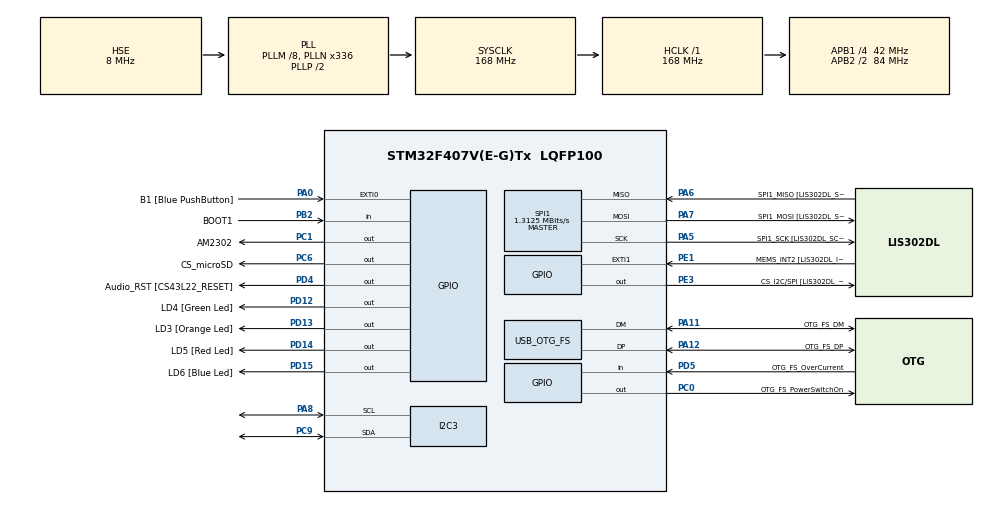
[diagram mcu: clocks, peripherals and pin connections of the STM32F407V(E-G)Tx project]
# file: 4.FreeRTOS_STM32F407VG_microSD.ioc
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FREERTOS.Queues01=UARTQueue,10,QUEUE_t,0,Static,UARTQueueBuffer,UARTQueueControlBlock
FREERTOS.Tasks01=defaultTask,24,128,StartDefaultTask,Default,NULL,Static,defaultTaskBuffer,defaultTaskControlBlock;Blue_LED_Blink,8,128,Start_Blue_LED_Blink,Default,NULL,Static,Blue_LED_BlinkBuffer,Blue_LED_BlinkControlBlock;Show_Resources,8,1024,Start_Show_Resources,Default,NULL,Static,Show_ResourcesBuffer,Show_ResourcesControlBlock;UART_Task,8,1024,Start_UART_Task,Default,NULL,Static,UART_TaskBuffer,UART_TaskControlBlock;bme280,8,1024,Start_bme280,Default,NULL,Static,bme280Buffer,bme280ControlBlock;AM2302,8,1024,Start_AM2302,Default,NULL,Static,AM2302Buffer,AM2302ControlBlock
FREERTOS.configGENERATE_RUN_TIME_STATS=1
FREERTOS.configUSE_NEWLIB_REENTRANT=1
FREERTOS.configUSE_STATS_FORMATTING_FUNCTIONS=1
Mcu.Family=STM32F4
Mcu.Name=STM32F407V(E-G)Tx
Mcu.Package=LQFP100
NVIC.OTG_FS_IRQn=true\:5\:0\:false\:false\:true\:true\:true\:true
NVIC.PriorityGroup=NVIC_PRIORITYGROUP_4
NVIC.TIM1_UP_TIM10_IRQn=true\:5\:0\:false\:false\:true\:false\:false\:true
NVIC.TIM2_IRQn=true\:5\:0\:false\:false\:true\:true\:true\:true
NVIC.TIM3_IRQn=true\:5\:0\:false\:false\:true\:true\:true\:true
NVIC.TimeBase=TIM1_UP_TIM10_IRQn
NVIC.TimeBaseIP=TIM1
PA0-WKUP.GPIO_Label=B1 [Blue PushButton]
PA0-WKUP.GPIO_ModeDefaultEXTI=GPIO_MODE_EVT_RISING
PA0-WKUP.GPIO_PuPd=GPIO_NOPULL
PA0-WKUP.Signal=GPXTI0
PA10.GPIO_Label=OTG_FS_ID
PA10.GPIO_Mode=GPIO_MODE_AF_PP
PA10.GPIO_PuPd=GPIO_NOPULL
PA10.GPIO_Speed=GPIO_SPEED_FREQ_LOW
PA10.Signal=USB_OTG_FS_ID
PA11.GPIO_Label=OTG_FS_DM
PA11.GPIO_Mode=GPIO_MODE_AF_PP
PA11.GPIO_PuPd=GPIO_NOPULL
PA11.GPIO_Speed=GPIO_SPEED_FREQ_LOW
PA11.Mode=Device_Only
PA11.Signal=USB_OTG_FS_DM
PA12.GPIO_Label=OTG_FS_DP
PA12.GPIO_Mode=GPIO_MODE_AF_PP
PA12.GPIO_PuPd=GPIO_NOPULL
PA12.GPIO_Speed=GPIO_SPEED_FREQ_LOW
PA12.Mode=Device_Only
PA12.Signal=USB_OTG_FS_DP
PA13.GPIO_Label=SWDIO
PA13.Mode=Serial_Wire
PA13.Signal=SYS_JTMS-SWDIO
PA14.GPIO_Label=SWCLK
PA14.Mode=Serial_Wire
PA14.Signal=SYS_JTCK-SWCLK
PA4.GPIO_Label=I2S3_WS [CS43L22_LRCK]
PA4.GPIO_Mode=GPIO_MODE_AF_PP
PA4.GPIO_PuPd=GPIO_NOPULL
PA4.GPIO_Speed=GPIO_SPEED_FREQ_LOW
PA4.Signal=I2S3_WS
PA5.GPIO_Label=SPI1_SCK [LIS302DL_SCL/SPC]
PA5.GPIO_Mode=GPIO_MODE_AF_PP
PA5.GPIO_PuPd=GPIO_NOPULL
PA5.GPIO_Speed=GPIO_SPEED_FREQ_LOW
PA5.Mode=Full_Duplex_Master
PA5.Signal=SPI1_SCK
PA6.GPIO_Label=SPI1_MISO [LIS302DL_SDO]
PA6.GPIO_Mode=GPIO_MODE_AF_PP
PA6.GPIO_PuPd=GPIO_NOPULL
PA6.GPIO_Speed=GPIO_SPEED_FREQ_LOW
PA6.Mode=Full_Duplex_Master
PA6.Signal=SPI1_MISO
PA7.GPIO_Label=SPI1_MOSI [LIS302DL_SDA/SDI/SDO]
PA7.GPIO_Mode=GPIO_MODE_AF_PP
PA7.GPIO_PuPd=GPIO_NOPULL
PA7.GPIO_Speed=GPIO_SPEED_FREQ_LOW
PA7.Mode=Full_Duplex_Master
PA7.Signal=SPI1_MOSI
PA8.Mode=I2C
PA8.Signal=I2C3_SCL
PA9.GPIO_Label=VBUS_FS
PA9.GPIO_Mode=GPIO_MODE_INPUT
PA9.GPIO_PuPd=GPIO_NOPULL
PA9.Signal=USB_OTG_FS_VBUS
PB10.GPIO_Label=CLK_IN [MP45DT02_CLK]
PB10.GPIO_Mode=GPIO_MODE_AF_PP
PB10.GPIO_PuPd=GPIO_NOPULL
PB10.GPIO_Speed=GPIO_SPEED_FREQ_LOW
PB10.Signal=I2S2_CK
PB2.GPIO_Label=BOOT1
PB2.GPIO_Mode=GPIO_MODE_INPUT
PB2.GPIO_PuPd=GPIO_NOPULL
PB2.Signal=GPIO_Input
PB3.GPIO_Label=SWO
PB3.Signal=SYS_JTDO-SWO
PB6.GPIO_Label=Audio_SCL [CS43L22_SCL]
PB6.GPIO_Mode=GPIO_MODE_AF_OD
PB6.GPIO_Pu=GPIO_PULLUP
PB6.GPIO_PuPd=GPIO_NOPULL
PB6.GPIO_Speed=GPIO_SPEED_FREQ_LOW
PB6.Signal=I2C1_SCL
PB9.GPIO_Label=Audio_SDA [CS43L22_SDA]
PB9.GPIO_Mode=GPIO_MODE_AF_OD
PB9.GPIO_Pu=GPIO_PULLUP
PB9.GPIO_PuPd=GPIO_NOPULL
PB9.GPIO_Speed=GPIO_SPEED_FREQ_LOW
PB9.Signal=I2C1_SDA
PC0.GPIO_Label=OTG_FS_PowerSwitchOn
PC0.GPIO_PuPd=GPIO_NOPULL
PC0.GPIO_Speed=GPIO_SPEED_FREQ_LOW
PC0.PinState=GPIO_PIN_SET
PC0.Signal=GPIO_Output
PC1.GPIO_Label=AM2302
PC1.Signal=GPIO_Output
PC10.GPIO_Label=I2S3_SCK [CS43L22_SCLK]
PC10.GPIO_Mode=GPIO_MODE_AF_PP
PC10.GPIO_PuPd=GPIO_NOPULL
PC10.GPIO_Speed=GPIO_SPEED_FREQ_LOW
PC10.Signal=I2S3_CK
PC12.GPIO_Label=I2S3_SD [CS43L22_SDIN]
PC12.GPIO_Mode=GPIO_MODE_AF_PP
PC12.GPIO_PuPd=GPIO_NOPULL
PC12.GPIO_Speed=GPIO_SPEED_FREQ_LOW
PC12.Signal=I2S3_SD
PC14-OSC32_IN.GPIO_Label=PC14-OSC32_IN
PC14-OSC32_IN.Mode=LSE-External-Oscillator
PC14-OSC32_IN.Signal=RCC_OSC32_IN
PC15-OSC32_OUT.GPIO_Label=PC15-OSC32_OUT
PC15-OSC32_OUT.Mode=LSE-External-Oscillator
PC15-OSC32_OUT.Signal=RCC_OSC32_OUT
PC3.GPIO_Label=PDM_OUT [MP45DT02_DOUT]
PC3.GPIO_Mode=GPIO_MODE_AF_PP
PC3.GPIO_PuPd=GPIO_NOPULL
PC3.GPIO_Speed=GPIO_SPEED_FREQ_LOW
PC3.Signal=I2S2_SD
PC6.GPIO_Label=CS_microSD
PC6.Signal=GPIO_Output
PC7.GPIO_Label=I2S3_MCK [CS43L22_MCLK]
PC7.GPIO_Mode=GPIO_MODE_AF_PP
PC7.GPIO_PuPd=GPIO_NOPULL
PC7.GPIO_Speed=GPIO_SPEED_FREQ_LOW
PC7.Signal=I2S3_MCK
PC9.Mode=I2C
PC9.Signal=I2C3_SDA
PD12.GPIO_Label=LD4 [Green Led]
PD12.GPIO_PuPd=GPIO_NOPULL
PD12.GPIO_Speed=GPIO_SPEED_FREQ_LOW
PD12.Signal=GPIO_Output
PD13.GPIO_Label=LD3 [Orange Led]
PD13.GPIO_PuPd=GPIO_NOPULL
PD13.GPIO_Speed=GPIO_SPEED_FREQ_LOW
PD13.Signal=GPIO_Output
PD14.GPIO_Label=LD5 [Red Led]
PD14.GPIO_PuPd=GPIO_NOPULL
PD14.GPIO_Speed=GPIO_SPEED_FREQ_LOW
PD14.Signal=GPIO_Output
PD15.GPIO_Label=LD6 [Blue Led]
PD15.GPIO_PuPd=GPIO_NOPULL
PD15.GPIO_Speed=GPIO_SPEED_FREQ_LOW
PD15.Signal=GPIO_Output
PD4.GPIO_Label=Audio_RST [CS43L22_RESET]
PD4.GPIO_PuPd=GPIO_NOPULL
PD4.GPIO_Speed=GPIO_SPEED_FREQ_LOW
PD4.Signal=GPIO_Output
PD5.GPIO_Label=OTG_FS_OverCurrent
PD5.GPIO_Mode=GPIO_MODE_INPUT
PD5.GPIO_PuPd=GPIO_NOPULL
PD5.Signal=GPIO_Input
PE1.GPIO_Label=MEMS_INT2 [LIS302DL_INT2]
PE1.GPIO_ModeDefaultEXTI=GPIO_MODE_EVT_RISING
PE1.GPIO_PuPd=GPIO_NOPULL
PE1.Signal=GPXTI1
PE3.GPIO_Label=CS_I2C/SPI [LIS302DL_CS_I2C/SPI]
PE3.GPIO_PuPd=GPIO_NOPULL
PE3.GPIO_Speed=GPIO_SPEED_FREQ_LOW
PE3.Signal=GPIO_Output
PH0-OSC_IN.GPIO_Label=PH0-OSC_IN
PH0-OSC_IN.Mode=HSE-External-Oscillator
PH0-OSC_IN.Signal=RCC_OSC_IN
PH1-OSC_OUT.GPIO_Label=PH1-OSC_OUT
PH1-OSC_OUT.Mode=HSE-External-Oscillator
PH1-OSC_OUT.Signal=RCC_OSC_OUT
ProjectManager.HeapSize=0x200
ProjectManager.StackSize=0x400
ProjectManager.TargetToolchain=STM32CubeIDE
RCC.48MHZClocksFreq_Value=48000000
RCC.AHBFreq_Value=168000000
RCC.APB1CLKDivider=RCC_HCLK_DIV4
RCC.APB1Freq_Value=42000000
RCC.APB1TimFreq_Value=84000000
RCC.APB2CLKDivider=RCC_HCLK_DIV2
RCC.APB2Freq_Value=84000000
RCC.APB2TimFreq_Value=168000000
RCC.CortexFreq_Value=168000000
RCC.HCLKFreq_Value=168000000
RCC.HSE_VALUE=8000000
RCC.HSI_VALUE=16000000
RCC.PLLM=8
RCC.PLLN=336
RCC.PLLQ=7
RCC.SYSCLKFreq_VALUE=168000000
RCC.SYSCLKSource=RCC_SYSCLKSOURCE_PLLCLK
RCC.VCOOutputFreq_Value=336000000
SPI1.BaudRatePrescaler=SPI_BAUDRATEPRESCALER_64
SPI1.CalculateBaudRate=1.3125 MBits/s
SPI1.Direction=SPI_DIRECTION_2LINES
SPI1.Mode=SPI_MODE_MASTER
SPI1.VirtualType=VM_MASTER
TIM10.AutoReloadPreload=TIM_AUTORELOAD_PRELOAD_ENABLE
TIM10.Period=10-1
TIM10.Prescaler=168-1
TIM2.AutoReloadPreload=TIM_AUTORELOAD_PRELOAD_DISABLE
TIM2.Period=10
TIM2.Prescaler=10
TIM3.AutoReloadPreload=TIM_AUTORELOAD_PRELOAD_ENABLE
TIM3.Period=10
TIM3.Prescaler=839
USB_DEVICE.CLASS_NAME_FS=CDC
USB_DEVICE.VirtualMode-CDC_FS=Cdc
USB_DEVICE.VirtualModeFS=Cdc_FS
USB_OTG_FS.VirtualMode=Device_Only
VP_FATFS_VS_Generic.Mode=User_defined
VP_FREERTOS_VS_CMSIS_V2.Mode=CMSIS_V2
VP_SYS_VS_tim1.Mode=TIM1
VP_TIM10_VS_ClockSourceINT.Mode=Enable_Timer
VP_TIM2_VS_ClockSourceINT.Mode=Internal
VP_TIM3_VS_ClockSourceINT.Mode=Internal
VP_USB_DEVICE_VS_USB_DEVICE_CDC_FS.Mode=CDC_FS
board=STM32F407G-DISC1

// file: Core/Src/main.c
/* USER CODE BEGIN Header */
/**
  ******************************************************************************
  * @file           : main.c
  * @brief          : Main program body
  ******************************************************************************
  * @attention
  *
  * <h2><center>&copy; Copyright (c) 2021 STMicroelectronics.
  * All rights reserved.</center></h2>
  *
  * This software component is licensed by ST under Ultimate Liberty license
  * SLA0044, the "License"; You may not use this file except in compliance with
  * the License. You may obtain a copy of the License at:
  *                             www.st.com/SLA0044
  *
  ******************************************************************************
  */
/* USER CODE END Header */
#include "main.h"
#include "cmsis_os.h"
#include "fatfs.h"
#include "usb_device.h"
#include "usb_device.h"

/* USER CODE BEGIN Includes */
#include "string.h"
#include "usbd_cdc_if.h"
#include "task.h"
#include <stdio.h>
#include <stdbool.h>

#include "BME280/bme280_defs.h"
#include "BME280/bme280.h"

#include "File_Handling_RTOS.h"
/* USER CODE END Includes */

typedef StaticTask_t osStaticThreadDef_t;
typedef StaticQueue_t osStaticMessageQDef_t;
/* USER CODE BEGIN PTD */
typedef struct 							//Queue
{
	char Buf[1024];
}QUEUE_t;

volatile unsigned long ulHighFreqebcyTimerTicks;		// This variable using for calculate how many time all tasks was running.
char str_management_memory_str[1000] = {0};
int freemem = 0;

uint32_t tim_val = 0;
/* USER CODE END PTD */

I2C_HandleTypeDef hi2c3;

SPI_HandleTypeDef hspi1;

TIM_HandleTypeDef htim2;
TIM_HandleTypeDef htim3;
TIM_HandleTypeDef htim10;

/* Definitions for defaultTask */
osThreadId_t defaultTaskHandle;
uint32_t defaultTaskBuffer[ 128 ];
osStaticThreadDef_t defaultTaskControlBlock;
const osThreadAttr_t defaultTask_attributes = {
  .name = "defaultTask",
  .cb_mem = &defaultTaskControlBlock,
  .cb_size = sizeof(defaultTaskControlBlock),
  .stack_mem = &defaultTaskBuffer[0],
  .stack_size = sizeof(defaultTaskBuffer),
  .priority = (osPriority_t) osPriorityNormal,
};
/* Definitions for Blue_LED_Blink */
osThreadId_t Blue_LED_BlinkHandle;
uint32_t Blue_LED_BlinkBuffer[ 128 ];
osStaticThreadDef_t Blue_LED_BlinkControlBlock;
const osThreadAttr_t Blue_LED_Blink_attributes = {
  .name = "Blue_LED_Blink",
  .cb_mem = &Blue_LED_BlinkControlBlock,
  .cb_size = sizeof(Blue_LED_BlinkControlBlock),
  .stack_mem = &Blue_LED_BlinkBuffer[0],
  .stack_size = sizeof(Blue_LED_BlinkBuffer),
  .priority = (osPriority_t) osPriorityLow,
};
/* Definitions for Show_Resources */
osThreadId_t Show_ResourcesHandle;
uint32_t Show_ResourcesBuffer[ 1024 ];
osStaticThreadDef_t Show_ResourcesControlBlock;
const osThreadAttr_t Show_Resources_attributes = {
  .name = "Show_Resources",
  .cb_mem = &Show_ResourcesControlBlock,
  .cb_size = sizeof(Show_ResourcesControlBlock),
  .stack_mem = &Show_ResourcesBuffer[0],
  .stack_size = sizeof(Show_ResourcesBuffer),
  .priority = (osPriority_t) osPriorityLow,
};
/* Definitions for UART_Task */
osThreadId_t UART_TaskHandle;
uint32_t UART_TaskBuffer[ 1024 ];
osStaticThreadDef_t UART_TaskControlBlock;
const osThreadAttr_t UART_Task_attributes = {
  .name = "UART_Task",
  .cb_mem = &UART_TaskControlBlock,
  .cb_size = sizeof(UART_TaskControlBlock),
  .stack_mem = &UART_TaskBuffer[0],
  .stack_size = sizeof(UART_TaskBuffer),
  .priority = (osPriority_t) osPriorityLow,
};
/* Definitions for bme280 */
osThreadId_t bme280Handle;
uint32_t bme280Buffer[ 1024 ];
osStaticThreadDef_t bme280ControlBlock;
const osThreadAttr_t bme280_attributes = {
  .name = "bme280",
  .cb_mem = &bme280ControlBlock,
  .cb_size = sizeof(bme280ControlBlock),
  .stack_mem = &bme280Buffer[0],
  .stack_size = sizeof(bme280Buffer),
  .priority = (osPriority_t) osPriorityLow,
};
/* Definitions for AM2302 */
osThreadId_t AM2302Handle;
uint32_t AM2302Buffer[ 1024 ];
osStaticThreadDef_t AM2302ControlBlock;
const osThreadAttr_t AM2302_attributes = {
  .name = "AM2302",
  .cb_mem = &AM2302ControlBlock,
  .cb_size = sizeof(AM2302ControlBlock),
  .stack_mem = &AM2302Buffer[0],
  .stack_size = sizeof(AM2302Buffer),
  .priority = (osPriority_t) osPriorityLow,
};
/* Definitions for UARTQueue */
osMessageQueueId_t UARTQueueHandle;
uint8_t UARTQueueBuffer[ 10 * sizeof( QUEUE_t ) ];
osStaticMessageQDef_t UARTQueueControlBlock;
const osMessageQueueAttr_t UARTQueue_attributes = {
  .name = "UARTQueue",
  .cb_mem = &UARTQueueControlBlock,
  .cb_size = sizeof(UARTQueueControlBlock),
  .mq_mem = &UARTQueueBuffer,
  .mq_size = sizeof(UARTQueueBuffer)
};
/* USER CODE BEGIN PV */

// BME280 part /////////////////////////////////////////////////////////////////////////////////////
struct bme280_dev dev;
struct bme280_data comp_data;
int8_t rslt;

int8_t init_bme280(void);
void bme280_measure(void);

//----------------------------------------------------------------------------------------
int8_t user_i2c_read(uint8_t id, uint8_t reg_addr, uint8_t *data, uint16_t len)
{
  if(HAL_I2C_Master_Transmit(&hi2c3, (id << 1), &reg_addr, 1, 10) != HAL_OK) return -1;
  if(HAL_I2C_Master_Receive(&hi2c3, (id << 1) | 0x01, data, len, 10) != HAL_OK) return -1;

  return 0;
}
//----------------------------------------------------------------------------------------
void user_delay_ms(uint32_t period)
{
  HAL_Delay(period);
}
//----------------------------------------------------------------------------------------
int8_t user_i2c_write(uint8_t id, uint8_t reg_addr, uint8_t *data, uint16_t len)
{
  int8_t *buf;
  buf = malloc(len +1);
  buf[0] = reg_addr;
  memcpy(buf +1, data, len);

  if(HAL_I2C_Master_Transmit(&hi2c3, (id << 1), (uint8_t*)buf, len + 1, HAL_MAX_DELAY) != HAL_OK) return -1;

  free(buf);
  return 0;
}
// End BME280 part/////////////////////////////////////////////////////////////////////////////////////

//__STATIC_INLINE void DelayMicro(__IO uint32_t micros)
//{
//	uint32_t test_micros = SystemCoreClock;
//	micros *= (SystemCoreClock / 100000) /168;			// 84
//	while (micros--);
//	//HAL_GPIO_TogglePin(GPIOD, LD3_Pin);
//
//}

bool delay_us(uint16_t us)
{
	__HAL_TIM_SET_COUNTER(&htim10, 0);
	tim_val = us/10;
	HAL_TIM_Base_Start_IT(&htim10);
	while(tim_val != 0)
	{

	}
	HAL_TIM_Base_Stop_IT(&htim10);
	tim_val = 0;
	int s = 99;
	return true;

//	__HAL_TIM_SET_COUNTER(&htim10, 0);
//	HAL_TIM_Base_Start_IT(&htim10);
//	uint32_t kk = __HAL_TIM_GET_COUNTER(&htim10);
//	while (__HAL_TIM_GET_COUNTER(&htim10) < us)  // wait for the counter to reach the us input in the parameter
//	{
//
//	}
//	//HAL_TIM_Base_Stop_IT(&htim10);
//	return true;
}

/* USER CODE END PV */

void SystemClock_Config(void);
static void MX_GPIO_Init(void);
static void MX_TIM3_Init(void);
static void MX_I2C3_Init(void);
static void MX_TIM2_Init(void);
static void MX_TIM10_Init(void);
static void MX_SPI1_Init(void);
void StartDefaultTask(void *argument);
void Start_Blue_LED_Blink(void *argument);
void Start_Show_Resources(void *argument);
void Start_UART_Task(void *argument);
void Start_bme280(void *argument);
void Start_AM2302(void *argument);

int main(void)
{

  /* MCU Configuration--------------------------------------------------------*/

  /* Reset of all peripherals, Initializes the Flash interface and the Systick. */
  HAL_Init();

  /* Configure the system clock */
  SystemClock_Config();

  /* Initialize all configured peripherals */
  MX_GPIO_Init();
  MX_TIM3_Init();
  MX_I2C3_Init();
  MX_TIM2_Init();
  MX_TIM10_Init();
  MX_SPI1_Init();
  MX_FATFS_Init();
  /* USER CODE BEGIN 2 */
  HAL_TIM_Base_Start_IT(&htim3);		//  This TIM3 using for calculate how many time all tasks was running.

  //HAL_TIM_Base_Start_IT(&htim2);
  HAL_TIM_Base_Start_IT(&htim10);

  /* USER CODE END 2 */

  /* Init scheduler */
  osKernelInitialize();

  /* Create the queue(s) */
  /* creation of UARTQueue */
  UARTQueueHandle = osMessageQueueNew (10, sizeof(QUEUE_t), &UARTQueue_attributes);

  /* Create the thread(s) */
  /* creation of defaultTask */
  defaultTaskHandle = osThreadNew(StartDefaultTask, NULL, &defaultTask_attributes);

  /* creation of Blue_LED_Blink */
  Blue_LED_BlinkHandle = osThreadNew(Start_Blue_LED_Blink, NULL, &Blue_LED_Blink_attributes);

  /* creation of Show_Resources */
  Show_ResourcesHandle = osThreadNew(Start_Show_Resources, NULL, &Show_Resources_attributes);

  /* creation of UART_Task */
  UART_TaskHandle = osThreadNew(Start_UART_Task, NULL, &UART_Task_attributes);

  /* creation of bme280 */
  bme280Handle = osThreadNew(Start_bme280, NULL, &bme280_attributes);

  /* creation of AM2302 */
  AM2302Handle = osThreadNew(Start_AM2302, NULL, &AM2302_attributes);

  /* Start scheduler */
  osKernelStart();

  /* We should never get here as control is now taken by the scheduler */
  /* Infinite loop */
  while (1)
  {

  }
}

void SystemClock_Config(void)
{
  RCC_OscInitTypeDef RCC_OscInitStruct = {0};
  RCC_ClkInitTypeDef RCC_ClkInitStruct = {0};

  /** Configure the main internal regulator output voltage
  */
  __HAL_RCC_PWR_CLK_ENABLE();
  __HAL_PWR_VOLTAGESCALING_CONFIG(PWR_REGULATOR_VOLTAGE_SCALE1);
  /** Initializes the RCC Oscillators according to the specified parameters
  * in the RCC_OscInitTypeDef structure.
  */
  RCC_OscInitStruct.OscillatorType = RCC_OSCILLATORTYPE_HSE;
  RCC_OscInitStruct.HSEState = RCC_HSE_ON;
  RCC_OscInitStruct.PLL.PLLState = RCC_PLL_ON;
  RCC_OscInitStruct.PLL.PLLSource = RCC_PLLSOURCE_HSE;
  RCC_OscInitStruct.PLL.PLLM = 8;
  RCC_OscInitStruct.PLL.PLLN = 336;
  RCC_OscInitStruct.PLL.PLLP = RCC_PLLP_DIV2;
  RCC_OscInitStruct.PLL.PLLQ = 7;
  if (HAL_RCC_OscConfig(&RCC_OscInitStruct) != HAL_OK)
  {
    Error_Handler();
  }
  /** Initializes the CPU, AHB and APB buses clocks
  */
  RCC_ClkInitStruct.ClockType = RCC_CLOCKTYPE_HCLK|RCC_CLOCKTYPE_SYSCLK
                              |RCC_CLOCKTYPE_PCLK1|RCC_CLOCKTYPE_PCLK2;
  RCC_ClkInitStruct.SYSCLKSource = RCC_SYSCLKSOURCE_PLLCLK;
  RCC_ClkInitStruct.AHBCLKDivider = RCC_SYSCLK_DIV1;
  RCC_ClkInitStruct.APB1CLKDivider = RCC_HCLK_DIV4;
  RCC_ClkInitStruct.APB2CLKDivider = RCC_HCLK_DIV2;

  if (HAL_RCC_ClockConfig(&RCC_ClkInitStruct, FLASH_LATENCY_5) != HAL_OK)
  {
    Error_Handler();
  }
}

static void MX_I2C3_Init(void)
{

  hi2c3.Instance = I2C3;
  hi2c3.Init.ClockSpeed = 100000;
  hi2c3.Init.DutyCycle = I2C_DUTYCYCLE_2;
  hi2c3.Init.OwnAddress1 = 0;
  hi2c3.Init.AddressingMode = I2C_ADDRESSINGMODE_7BIT;
  hi2c3.Init.DualAddressMode = I2C_DUALADDRESS_DISABLE;
  hi2c3.Init.OwnAddress2 = 0;
  hi2c3.Init.GeneralCallMode = I2C_GENERALCALL_DISABLE;
  hi2c3.Init.NoStretchMode = I2C_NOSTRETCH_DISABLE;
  if (HAL_I2C_Init(&hi2c3) != HAL_OK)
  {
    Error_Handler();
  }

}

static void MX_SPI1_Init(void)
{

  /* SPI1 parameter configuration*/
  hspi1.Instance = SPI1;
  hspi1.Init.Mode = SPI_MODE_MASTER;
  hspi1.Init.Direction = SPI_DIRECTION_2LINES;
  hspi1.Init.DataSize = SPI_DATASIZE_8BIT;
  hspi1.Init.CLKPolarity = SPI_POLARITY_LOW;
  hspi1.Init.CLKPhase = SPI_PHASE_1EDGE;
  hspi1.Init.NSS = SPI_NSS_SOFT;
  hspi1.Init.BaudRatePrescaler = SPI_BAUDRATEPRESCALER_64;
  hspi1.Init.FirstBit = SPI_FIRSTBIT_MSB;
  hspi1.Init.TIMode = SPI_TIMODE_DISABLE;
  hspi1.Init.CRCCalculation = SPI_CRCCALCULATION_DISABLE;
  hspi1.Init.CRCPolynomial = 10;
  if (HAL_SPI_Init(&hspi1) != HAL_OK)
  {
    Error_Handler();
  }

}

static void MX_TIM2_Init(void)
{

  TIM_ClockConfigTypeDef sClockSourceConfig = {0};
  TIM_MasterConfigTypeDef sMasterConfig = {0};

  htim2.Instance = TIM2;
  htim2.Init.Prescaler = 10;
  htim2.Init.CounterMode = TIM_COUNTERMODE_UP;
  htim2.Init.Period = 10;
  htim2.Init.ClockDivision = TIM_CLOCKDIVISION_DIV1;
  htim2.Init.AutoReloadPreload = TIM_AUTORELOAD_PRELOAD_DISABLE;
  if (HAL_TIM_Base_Init(&htim2) != HAL_OK)
  {
    Error_Handler();
  }
  sClockSourceConfig.ClockSource = TIM_CLOCKSOURCE_INTERNAL;
  if (HAL_TIM_ConfigClockSource(&htim2, &sClockSourceConfig) != HAL_OK)
  {
    Error_Handler();
  }
  sMasterConfig.MasterOutputTrigger = TIM_TRGO_RESET;
  sMasterConfig.MasterSlaveMode = TIM_MASTERSLAVEMODE_DISABLE;
  if (HAL_TIMEx_MasterConfigSynchronization(&htim2, &sMasterConfig) != HAL_OK)
  {
    Error_Handler();
  }

}

static void MX_TIM3_Init(void)
{

  TIM_ClockConfigTypeDef sClockSourceConfig = {0};
  TIM_MasterConfigTypeDef sMasterConfig = {0};

  htim3.Instance = TIM3;
  htim3.Init.Prescaler = 839;
  htim3.Init.CounterMode = TIM_COUNTERMODE_UP;
  htim3.Init.Period = 10;
  htim3.Init.ClockDivision = TIM_CLOCKDIVISION_DIV1;
  htim3.Init.AutoReloadPreload = TIM_AUTORELOAD_PRELOAD_ENABLE;
  if (HAL_TIM_Base_Init(&htim3) != HAL_OK)
  {
    Error_Handler();
  }
  sClockSourceConfig.ClockSource = TIM_CLOCKSOURCE_INTERNAL;
  if (HAL_TIM_ConfigClockSource(&htim3, &sClockSourceConfig) != HAL_OK)
  {
    Error_Handler();
  }
  sMasterConfig.MasterOutputTrigger = TIM_TRGO_RESET;
  sMasterConfig.MasterSlaveMode = TIM_MASTERSLAVEMODE_DISABLE;
  if (HAL_TIMEx_MasterConfigSynchronization(&htim3, &sMasterConfig) != HAL_OK)
  {
    Error_Handler();
  }

}

static void MX_TIM10_Init(void)
{

  htim10.Instance = TIM10;
  htim10.Init.Prescaler = 168-1;
  htim10.Init.CounterMode = TIM_COUNTERMODE_UP;
  htim10.Init.Period = 10-1;
  htim10.Init.ClockDivision = TIM_CLOCKDIVISION_DIV1;
  htim10.Init.AutoReloadPreload = TIM_AUTORELOAD_PRELOAD_ENABLE;
  if (HAL_TIM_Base_Init(&htim10) != HAL_OK)
  {
    Error_Handler();
  }

}

static void MX_GPIO_Init(void)
{
  GPIO_InitTypeDef GPIO_InitStruct = {0};

  /* GPIO Ports Clock Enable */
  __HAL_RCC_GPIOE_CLK_ENABLE();
  __HAL_RCC_GPIOC_CLK_ENABLE();
  __HAL_RCC_GPIOH_CLK_ENABLE();
  __HAL_RCC_GPIOA_CLK_ENABLE();
  __HAL_RCC_GPIOB_CLK_ENABLE();
  __HAL_RCC_GPIOD_CLK_ENABLE();

  /*Configure GPIO pin Output Level */
  HAL_GPIO_WritePin(CS_I2C_SPI_GPIO_Port, CS_I2C_SPI_Pin, GPIO_PIN_RESET);

  /*Configure GPIO pin Output Level */
  HAL_GPIO_WritePin(OTG_FS_PowerSwitchOn_GPIO_Port, OTG_FS_PowerSwitchOn_Pin, GPIO_PIN_SET);

  /*Configure GPIO pin Output Level */
  HAL_GPIO_WritePin(GPIOC, AM2302_Pin|CS_microSD_Pin, GPIO_PIN_RESET);

  /*Configure GPIO pin Output Level */
  HAL_GPIO_WritePin(GPIOD, LD4_Pin|LD3_Pin|LD5_Pin|LD6_Pin
                          |Audio_RST_Pin, GPIO_PIN_RESET);

  /*Configure GPIO pin : CS_I2C_SPI_Pin */
  GPIO_InitStruct.Pin = CS_I2C_SPI_Pin;
  GPIO_InitStruct.Mode = GPIO_MODE_OUTPUT_PP;
  GPIO_InitStruct.Pull = GPIO_NOPULL;
  GPIO_InitStruct.Speed = GPIO_SPEED_FREQ_LOW;
  HAL_GPIO_Init(CS_I2C_SPI_GPIO_Port, &GPIO_InitStruct);

  /*Configure GPIO pins : OTG_FS_PowerSwitchOn_Pin AM2302_Pin CS_microSD_Pin */
  GPIO_InitStruct.Pin = OTG_FS_PowerSwitchOn_Pin|AM2302_Pin|CS_microSD_Pin;
  GPIO_InitStruct.Mode = GPIO_MODE_OUTPUT_PP;
  GPIO_InitStruct.Pull = GPIO_NOPULL;
  GPIO_InitStruct.Speed = GPIO_SPEED_FREQ_LOW;
  HAL_GPIO_Init(GPIOC, &GPIO_InitStruct);

  /*Configure GPIO pin : PDM_OUT_Pin */
  GPIO_InitStruct.Pin = PDM_OUT_Pin;
  GPIO_InitStruct.Mode = GPIO_MODE_AF_PP;
  GPIO_InitStruct.Pull = GPIO_NOPULL;
  GPIO_InitStruct.Speed = GPIO_SPEED_FREQ_LOW;
  GPIO_InitStruct.Alternate = GPIO_AF5_SPI2;
  HAL_GPIO_Init(PDM_OUT_GPIO_Port, &GPIO_InitStruct);

  /*Configure GPIO pin : B1_Pin */
  GPIO_InitStruct.Pin = B1_Pin;
  GPIO_InitStruct.Mode = GPIO_MODE_EVT_RISING;
  GPIO_InitStruct.Pull = GPIO_NOPULL;
  HAL_GPIO_Init(B1_GPIO_Port, &GPIO_InitStruct);

  /*Configure GPIO pin : I2S3_WS_Pin */
  GPIO_InitStruct.Pin = I2S3_WS_Pin;
  GPIO_InitStruct.Mode = GPIO_MODE_AF_PP;
  GPIO_InitStruct.Pull = GPIO_NOPULL;
  GPIO_InitStruct.Speed = GPIO_SPEED_FREQ_LOW;
  GPIO_InitStruct.Alternate = GPIO_AF6_SPI3;
  HAL_GPIO_Init(I2S3_WS_GPIO_Port, &GPIO_InitStruct);

  /*Configure GPIO pin : BOOT1_Pin */
  GPIO_InitStruct.Pin = BOOT1_Pin;
  GPIO_InitStruct.Mode = GPIO_MODE_INPUT;
  GPIO_InitStruct.Pull = GPIO_NOPULL;
  HAL_GPIO_Init(BOOT1_GPIO_Port, &GPIO_InitStruct);

  /*Configure GPIO pin : CLK_IN_Pin */
  GPIO_InitStruct.Pin = CLK_IN_Pin;
  GPIO_InitStruct.Mode = GPIO_MODE_AF_PP;
  GPIO_InitStruct.Pull = GPIO_NOPULL;
  GPIO_InitStruct.Speed = GPIO_SPEED_FREQ_LOW;
  GPIO_InitStruct.Alternate = GPIO_AF5_SPI2;
  HAL_GPIO_Init(CLK_IN_GPIO_Port, &GPIO_InitStruct);

  /*Configure GPIO pins : LD4_Pin LD3_Pin LD5_Pin LD6_Pin
                           Audio_RST_Pin */
  GPIO_InitStruct.Pin = LD4_Pin|LD3_Pin|LD5_Pin|LD6_Pin
                          |Audio_RST_Pin;
  GPIO_InitStruct.Mode = GPIO_MODE_OUTPUT_PP;
  GPIO_InitStruct.Pull = GPIO_NOPULL;
  GPIO_InitStruct.Speed = GPIO_SPEED_FREQ_LOW;
  HAL_GPIO_Init(GPIOD, &GPIO_InitStruct);

  /*Configure GPIO pins : I2S3_MCK_Pin I2S3_SCK_Pin I2S3_SD_Pin */
  GPIO_InitStruct.Pin = I2S3_MCK_Pin|I2S3_SCK_Pin|I2S3_SD_Pin;
  GPIO_InitStruct.Mode = GPIO_MODE_AF_PP;
  GPIO_InitStruct.Pull = GPIO_NOPULL;
  GPIO_InitStruct.Speed = GPIO_SPEED_FREQ_LOW;
  GPIO_InitStruct.Alternate = GPIO_AF6_SPI3;
  HAL_GPIO_Init(GPIOC, &GPIO_InitStruct);

  /*Configure GPIO pin : OTG_FS_OverCurrent_Pin */
  GPIO_InitStruct.Pin = OTG_FS_OverCurrent_Pin;
  GPIO_InitStruct.Mode = GPIO_MODE_INPUT;
  GPIO_InitStruct.Pull = GPIO_NOPULL;
  HAL_GPIO_Init(OTG_FS_OverCurrent_GPIO_Port, &GPIO_InitStruct);

  /*Configure GPIO pins : Audio_SCL_Pin Audio_SDA_Pin */
  GPIO_InitStruct.Pin = Audio_SCL_Pin|Audio_SDA_Pin;
  GPIO_InitStruct.Mode = GPIO_MODE_AF_OD;
  GPIO_InitStruct.Pull = GPIO_PULLUP;
  GPIO_InitStruct.Speed = GPIO_SPEED_FREQ_LOW;
  GPIO_InitStruct.Alternate = GPIO_AF4_I2C1;
  HAL_GPIO_Init(GPIOB, &GPIO_InitStruct);

  /*Configure GPIO pin : MEMS_INT2_Pin */
  GPIO_InitStruct.Pin = MEMS_INT2_Pin;
  GPIO_InitStruct.Mode = GPIO_MODE_EVT_RISING;
  GPIO_InitStruct.Pull = GPIO_NOPULL;
  HAL_GPIO_Init(MEMS_INT2_GPIO_Port, &GPIO_InitStruct);

}

void StartDefaultTask(void *argument)
{
  /* init code for USB_DEVICE */
  MX_USB_DEVICE_Init();
  for(;;)
  {
	  osDelay(1);
  }
}

void Start_Blue_LED_Blink(void *argument)
{
  /* USER CODE BEGIN Start_Blue_LED_Blink */
  /* Infinite loop */
	static uint8_t i = 1;
	for(;;)
	{
		HAL_GPIO_WritePin(GPIOD, LD6_Pin, GPIO_PIN_SET);
		osDelay(100);
		HAL_GPIO_WritePin(GPIOD, LD6_Pin, GPIO_PIN_RESET);
		osDelay(900);

	}
  /* USER CODE END Start_Blue_LED_Blink */
}

void Start_Show_Resources(void *argument)
{
  /* USER CODE BEGIN Start_Show_Resources */
  /* Infinite loop */
  for(;;)
  {
	  osDelay(5000);												// Every 5 second task management will print data

	  char str_end_of_line[3] = {'\r','\n'};
	  char str_sig = '-';
	  char buff[10] = {0};

	  QUEUE_t msg;												// Make a queue
	  memset(msg.Buf, 0, sizeof(msg.Buf));						// Fill in buff '\0'
	  strcat(msg.Buf, ">>>>> Free heap memory: ");				// Add string to another (Total heap)

	  freemem = xPortGetFreeHeapSize();							// Function return how many free memory.
	  itoa(freemem, buff, 10);
	  strcat(msg.Buf, buff);
	  strcat(msg.Buf, str_end_of_line);

	  // add a hat
	  strcat(msg.Buf, "| TASK NAME           | STATUS |   PRIOR	|  STACK  |    NUM  |\n\r\0");

	  vTaskList(str_management_memory_str);						// Fill in str_management_memory_str array management task information

	  // Finding the  end of string
	  uint16_t buffer_size = 0;
	  while(msg.Buf[buffer_size] != '\0')
	  {
	  	buffer_size ++;
	  }

	  // Add str_management_memory_str to queue string
	  int i = 0;
	  for(i = 0; str_management_memory_str[i] != '\0'; i++)
	  {
	  	// add data to queue
	  	msg.Buf[buffer_size + i] = str_management_memory_str[i];
	  }

	  // add a hat
	  char str_line[] = {"-----------------------\n\r"};
	  char str_head_2[] = {"| TASK NAME           | ABS TIME |              TASK TIME% |\n\r"};
	  strcat(msg.Buf, str_line);
	  strcat(msg.Buf, str_head_2);

	  memset(str_management_memory_str, 0, sizeof(str_management_memory_str));	// Clean buffer

	  vTaskGetRunTimeStats(str_management_memory_str);							// Function return how much time all functions running.

	  buffer_size = buffer_size + i + (sizeof(str_line)-1) + (sizeof(str_head_2)-1);           // НЕ ВИВОДИТЬ СТРОКУ !!!!!!!!!!!!!!!!!! <<<<<<<<<<<<<<<<<<<
	  for(i = 0; str_management_memory_str[i] != '\0'; i++)
	  {
	  	// add data to queue
	  	msg.Buf[buffer_size + i] = str_management_memory_str[i];
	  }
	  strcat(msg.Buf, "#########################################\n\r");

	  osMessageQueuePut(UARTQueueHandle, &msg, 0, osWaitForever);					// Write data on queue (In will print on StartUART_Task task)
  }
  /* USER CODE END Start_Show_Resources */
}

void Start_UART_Task(void *argument)
{
  /* USER CODE BEGIN Start_UART_Task */
  /* Infinite loop */
  QUEUE_t msg;
  for(;;)
  {
	// osMessageQueueGet waiting data on a queue (If data are in queue so print it)
	osMessageQueueGet(UARTQueueHandle, &msg, 0, osWaitForever);			// Write for data on queue
	// Counting how many characters will be transmitted
	uint16_t buffer_size = 0;
	while(msg.Buf[buffer_size] != '\0')
	{
		buffer_size ++;
	}
	// Transmit over virtual comport
	CDC_Transmit_FS(msg.Buf, buffer_size);						// Transmit data over virtual comport
    osDelay(1);
  }
  /* USER CODE END Start_UART_Task */
}

void Start_bme280(void *argument)
{
  /* USER CODE BEGIN Start_bme280 */
  /* Infinite loop */

	QUEUE_t msg;												// Make a queue
	//memset(msg.Buf, 0, sizeof(msg.Buf));						// Fill in buff '\0'

	uint16_t STATUS=0;
	uint16_t addres_device = 0x76;  		 	// BME280
	uint16_t id_addr = 0xD0;
	uint8_t id = 96;							// in hex form
	uint8_t buff=0;        						// Return 0x96 -> Dec 60

	// For debug
	STATUS = HAL_I2C_Mem_Read(&hi2c3, addres_device<<1, id_addr, 1, &buff, 1, 1000);
	if((buff == id) && (STATUS == 0))
	{
		// BME280 founded
	}
	else
	{
		// Error !!! BME280 didn't found
	}

	// Init BME280
	dev.dev_id = BME280_I2C_ADDR_PRIM;
	dev.intf = BME280_I2C_INTF;
	dev.read = user_i2c_read;
	dev.write = user_i2c_write;
	dev.delay_ms = user_delay_ms;

	rslt = bme280_init(&dev);

	dev.settings.osr_h = BME280_OVERSAMPLING_1X;
	dev.settings.osr_p = BME280_OVERSAMPLING_16X;
	dev.settings.osr_t = BME280_OVERSAMPLING_2X;
	dev.settings.filter = BME280_FILTER_COEFF_16;
	rslt = bme280_set_sensor_settings(BME280_OSR_PRESS_SEL | BME280_OSR_TEMP_SEL | BME280_OSR_HUM_SEL | BME280_FILTER_SEL, &dev);

	rslt = bme280_set_sensor_mode(BME280_NORMAL_MODE, &dev);

	dev.delay_ms(40);

  for(;;)
  {
	  osDelay(1000);

	  char str_t_h_and_p[50] = {0};
	  char str_thp_buffer[12] = {0};

	  memset(msg.Buf, 0, sizeof(msg.Buf));								// Fill in buff '\0'
	  rslt = bme280_get_sensor_data(BME280_ALL, &comp_data, &dev);		// Get data from sensor

	  if(rslt == BME280_OK)
	  {
	  		// Save data variables
	  		float BME280_temperature = comp_data.temperature;
	  		float BME280_humidity = comp_data.humidity;
	  		float BME280_preasure = comp_data.pressure;

	  		// Write T, H and P in str_t_h_and_p buffer
	  		// Write TEMPERATURE
	  		strcat(str_t_h_and_p, "BEE280: \n\r");
	  		strcat(str_t_h_and_p, "T: ");
	  		sprintf(str_thp_buffer, "%f", BME280_temperature);
	  		strcat(str_t_h_and_p, str_thp_buffer);
	  		strcat(str_t_h_and_p, " C\n\r");

	  		// Write HUMIDYTY
	  		memset(str_thp_buffer, 0, sizeof(str_thp_buffer));
	  		strcat(str_t_h_and_p, "H: ");
	  		sprintf(str_thp_buffer, "%f", BME280_humidity);
	  		strcat(str_t_h_and_p, str_thp_buffer);
	  		strcat(str_t_h_and_p, " C\n\r");

	  		// Write PRERASURE
	  		memset(str_thp_buffer, 0, sizeof(str_thp_buffer));
	  		strcat(str_t_h_and_p, "P: ");
	  		sprintf(str_thp_buffer, "%f", BME280_preasure);
	  		strcat(str_t_h_and_p, str_thp_buffer);
	  		strcat(str_t_h_and_p, " mm\n\r\0");

	  		strcat(msg.Buf, str_t_h_and_p);										//	Write main buffer with data in queue

	  		osMessageQueuePut(UARTQueueHandle, &msg, 0, osWaitForever);			// Write data on queue (In will print on StartUART_Task task)

	  }
	  else
	  {
		  strcat(str_t_h_and_p, "ERROR!!! BME280 didn't found\n\r");
		  osMessageQueuePut(UARTQueueHandle, &msg, 0, osWaitForever);			// Write data on queue (In will print on StartUART_Task task)
	  }

  }
  /* USER CODE END Start_bme280 */
}

void Start_AM2302(void *argument)
{
  /* USER CODE BEGIN Start_AM2302 */
  /* Infinite loop */
	QUEUE_t msg;												// Make a queue
	memset(msg.Buf, 0, sizeof(msg.Buf));						// Fill in buff '\0'

	GPIOC->MODER |= GPIO_MODER_MODER1_0;            // Output mode GPIOC0
	GPIOC->OTYPER &= ~GPIO_OTYPER_OT_1;             // Push-pull mode
	GPIOC->OSPEEDR |= GPIO_OSPEEDER_OSPEEDR0_1;     // Speed
	GPIOC->ODR ^= 0x02; 							// set GPIOC pin 1 on high
	osDelay(2000);									// First init must be 2 seconds delay

  for(;;)
  {
	  osDelay(3000);			// Measure every 3 seconds
	  //----------------------------------------------------------------------------------------
	  /*
	   * Function make us delay
	   */
//	  __STATIC_INLINE void DelayMicro(__IO uint32_t micros)
//	  {
//	  	uint32_t test_micros = SystemCoreClock;
//	  	micros *= (SystemCoreClock / 100000) /84;
//	  	while (micros--);
//	  }

	  	//  function must use less than one time per 2-3 seconds.
	  /* Init work with sensor:
	   *
	   * From microcontroller
	   * 						            From sensor
	   * 	   Low 10 msec	      High 39 us|	80us Pull down     80us Pull up 	Start Receive data from sensor
	   * ____                     _______	|					 __________________
	   * 	   \	   	           /	   \|					/				   \
	   * 	   	\_________________/			\__________________/		 			\_______
	   *
	   * Receive '0' Bit
	   *     Low 50 us    High 26 - 28 us
	   * __                ___________
	   * 	 \			    /			\
	   * 	  \____________/			 \_
	   *
	   * Receive '1' Bit
	   *     Low 50 us             High 70 us
	   * __                ________________________
	   * 	 \			    /				         \
	   * 	  \____________/			              \_
	   */

	  	bool get_data_status = false;
	  	int j = 0;   							// Counter bytes
	  	int i = 0;								// Counter bits
	  	uint8_t data[4] = {0};					// Buffer for incoming data from sensor
	  	float temper, hum;						// Buffer variables

	  	// Init GPIO like output
	  	GPIOC->MODER |= GPIO_MODER_MODER1_0;            // Output mode GPIOC0
	  	GPIOC->OTYPER &= ~GPIO_OTYPER_OT_1;             // Push-pull mode
	  	GPIOC->OSPEEDR |= GPIO_OSPEEDER_OSPEEDR0_1;     // Speed

	  	GPIOC->ODR &= ~0x02;		// Low level
	  	osDelay(18);
	  	GPIOC->ODR ^= 0x02;			// High level
	  	delay_us(40);

	  	// Make input pin C1
	  	GPIOC->MODER &= ~0x04;  	// Set Pin C1 Input   (MODER GPIOC_1 Must be 00)
	  	GPIOC->PUPDR &= ~0x04;		// Set Pin C1 Pull up

	  	if(GPIOC->IDR & GPIO_IDR_ID1)		// Sensor must pull down
	  	{
	  		get_data_status = false; 					// Error. Sensor not response
	  	}
	  	else
	  	{
	  		get_data_status = true;
	  	}

	  	delay_us(80);

	  	if(!(GPIOC->IDR & GPIO_IDR_ID1))  	// Sensor must pull up
	  	{
	  		get_data_status = false; 					// Error. Sensor not response
	  	}
	  	else
	  	{
	  		get_data_status = true;
	  	}
	  	delay_us(80);

	  	if(get_data_status == true)
	  	{
	  		for(j = 0; j <5; j++)							// Reading 5 bytes
	  		{
	  			data[4-j] = 0;
	  			for(i = 0; i < 8; i++)						// Reading 8 bits
	  			{
	  				while(!(GPIOC->IDR & GPIO_IDR_ID1));	// While signal is "0"
	  				delay_us(30);
	  				if(GPIOC->IDR & GPIO_IDR_ID1)			// If signal is high when wrute "1" in buffer (data[])
	  				{
	  					data[4-j] |= (1 << (7 - i));        // Shift received bite
	  				}
	  				while(GPIOC->IDR & GPIO_IDR_ID1);		// Wait end of "1" signal
	  			}
	  			get_data_status = true;										// Data was been written okay
	  		}

	  		temper = (float)((*(uint16_t*)(data+1)) & 0x3FFF) /10;
	  		if((*(uint16_t*)(data+1)) & 0x8000) temper  *= -1.0;
	  		hum = (float)(*(int16_t*)(data+3)) / 10;

	  		// Write data in queue
	  		char str_t_and_h[50] = {0};
	  		char str_t_and_h_buffer[12] = {0};

	  		memset(msg.Buf, 0, sizeof(msg.Buf));								// Fill in buff '\0'

	  		// Write T and  H P in str_t_h buffer
	  		// Write TEMPERATURE
	  		strcat(str_t_and_h, "AM2302: \n\r");
	  		strcat(str_t_and_h, "T: ");
	  		sprintf(str_t_and_h_buffer, "%f", temper);
	  		strcat(str_t_and_h, str_t_and_h_buffer);
	  		strcat(str_t_and_h, " C\n\r");

	  		// Write HUMIDYTY
	  		memset(str_t_and_h_buffer, 0, sizeof(str_t_and_h_buffer));

	  		strcat(str_t_and_h, "H: ");
	  		sprintf(str_t_and_h_buffer, "%f", hum);
	  		strcat(str_t_and_h, str_t_and_h_buffer);
	  		strcat(str_t_and_h, " C\n\r\0");

	  		strcat(msg.Buf, str_t_and_h);										//	Write main buffer with data in queue

	  		osMessageQueuePut(UARTQueueHandle, &msg, 0, osWaitForever);			// Write data on queue (In will print on StartUART_Task task)
	  	}
	  	else
	  	{

	  		//i2c_device.AM2302_ready_status = false;
	  	}
  }
  /* USER CODE END Start_AM2302 */
}

void HAL_TIM_PeriodElapsedCallback(TIM_HandleTypeDef *htim)
{
  /* USER CODE BEGIN Callback 0 */

	if(htim->Instance == TIM10) 				//check if the interrupt comes from TIM10
	{
		if(tim_val > 0)
		{
			tim_val = tim_val - 1;
		}
		else		// For avoid overflow variable
		{
			tim_val = 0;
		}

	}

	if(htim->Instance == TIM3)
	{
		ulHighFreqebcyTimerTicks++;					// Update time tasks counter
	}
  /* USER CODE END Callback 0 */
  if (htim->Instance == TIM1) {
    HAL_IncTick();
  }
}

void Error_Handler(void)
{
  __disable_irq();
  while (1)
  {
  }
}

/************************ (C) COPYRIGHT STMicroelectronics *****END OF FILE****/
